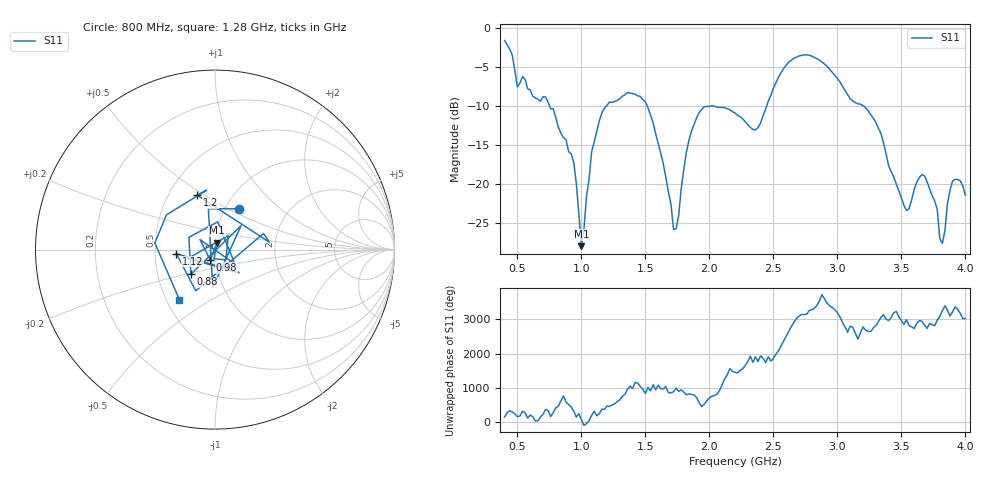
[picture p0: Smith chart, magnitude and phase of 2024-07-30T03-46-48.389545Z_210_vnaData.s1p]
!Created with skrf (http://scikit-rf.org).
# Hz S RI R 50.0
!freq ReS11 ImS11
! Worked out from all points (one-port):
!   181 points, 400 MHz to 4 GHz, reference 50 ohm
!   lowest |S11| = -28.0 dB at 1 GHz (marker M1), VSWR 1.08, Z = 51 + j3.89 ohm
!   |S11| at or under -10 dB: 751.1 MHz to 1.197 GHz (445.6 MHz wide, 45.8 % of centre); 1.514 GHz to 2.019 GHz (505.1 MHz wide, 28.6 % of centre); 3.203 GHz to end of sweep (the widest 3 of 4)
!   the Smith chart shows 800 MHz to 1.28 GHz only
!   S11 on the Smith chart (normalised r, x): 800 MHz: 1.16, +0.57; 880 MHz: 0.74, -0.21; 980 MHz: 0.94, -0.11; 1.12 GHz: 0.64, -0.03; 1.2 GHz: 0.69, +0.47; 1.28 GHz: 0.58, -0.37
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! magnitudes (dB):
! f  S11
! 400 MHz  -1.6
! 500 MHz  -7.6
! 800 MHz  -11.5
! 860 MHz  -14.1
! 880 MHz  -14.3
! 940 MHz  -17.2
! 980 MHz  -23.9
! 1 GHz  -28.0
! 1.12 GHz  -13.3
! 1.2 GHz  -9.9
! 1.28 GHz  -9.3
! 1.3 GHz  -9.1
! 1.5 GHz  -9.5
! 1.64 GHz  -17.5
! 1.72 GHz  -25.9
! 1.76 GHz  -24.1
! 1.82 GHz  -16.0
! 1.92 GHz  -10.9
! 2.2 GHz  -10.9
! 2.38 GHz  -12.8
! 2.66 GHz  -3.9
! 3.1 GHz  -9.1
! 3.3 GHz  -12.1
! 3.56 GHz  -23.2
! 3.68 GHz  -19.0
! 3.82 GHz  -27.7
! 3.9 GHz  -19.7
! 4 GHz  -21.5
